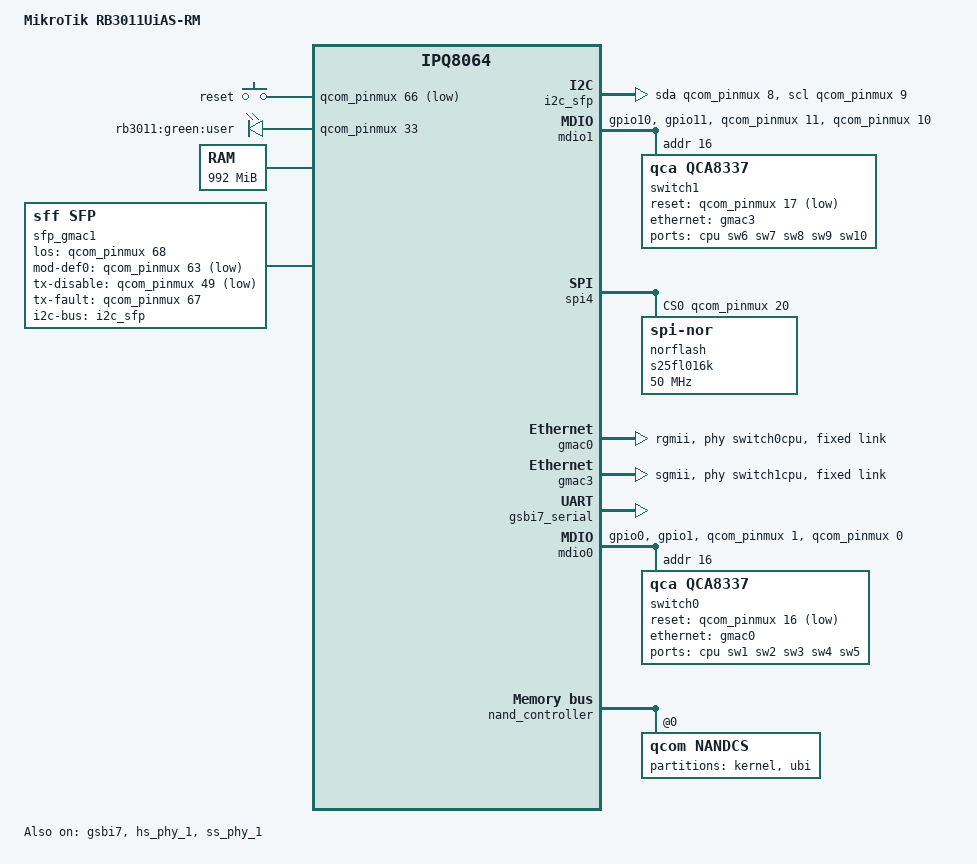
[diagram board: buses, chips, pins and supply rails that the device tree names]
// SPDX-License-Identifier: GPL-2.0+ OR MIT
#include "qcom-ipq8064.dtsi"
#include <dt-bindings/input/input.h>

/ {
	model = "MikroTik RB3011UiAS-RM";
	compatible = "mikrotik,rb3011";

	aliases {
		ethernet0 = &gmac0;
		ethernet1 = &gmac3;
		led-boot = &user;
		led-failsafe = &user;
		led-running = &user;
		led-upgrade = &user;
		mdio-gpio0 = &mdio0;
		mdio-gpio1 = &mdio1;
		serial0 = &gsbi7_serial;
	};

	chosen {
		bootargs = "loglevel=8 console=ttyMSM0,115200";
		stdout-path = "serial0:115200n8";
	};

	gpio_keys {
		compatible = "gpio-keys";
		pinctrl-0 = <&buttons_pins>;
		pinctrl-names = "default";

		button@1 {
			label = "reset";
			linux,code = <KEY_RESTART>;
			gpios = <&qcom_pinmux 66 GPIO_ACTIVE_LOW>;
			linux,input-type = <1>;
			debounce-interval = <60>;
		};
	};

	i2c_sfp: i2c {
		compatible = "i2c-gpio";
		sda-gpios = <&qcom_pinmux 8 (GPIO_ACTIVE_HIGH|GPIO_OPEN_DRAIN)>;
		scl-gpios = <&qcom_pinmux 9 (GPIO_ACTIVE_HIGH|GPIO_OPEN_DRAIN)>;
		i2c-gpio,delay-us = <5>;
		i2c-gpio,timeout-ms = <1>;
	};

	leds {
		compatible = "gpio-leds";
		pinctrl-0 = <&leds_pins>;
		pinctrl-names = "default";

		user: led@7 {
			label = "rb3011:green:user";
			gpios = <&qcom_pinmux 33 GPIO_ACTIVE_HIGH>;
			default-state = "off";
		};
	};

	mdio1: mdio@1 {
		status = "okay";
		compatible = "virtual,mdio-gpio";
		gpios = <&qcom_pinmux 11 GPIO_ACTIVE_HIGH>,
			<&qcom_pinmux 10 GPIO_ACTIVE_HIGH>;
		#address-cells = <1>;
		#size-cells = <0>;

		pinctrl-0 = <&mdio1_pins>;
		pinctrl-names = "default";

		switch1: switch@14 {
			compatible = "qca,qca8337";
			#address-cells = <1>;
			#size-cells = <0>;

			dsa,member = <1 0>;

			pinctrl-0 = <&sw1_reset_pin>;
			pinctrl-names = "default";

			reset-gpios = <&qcom_pinmux 17 GPIO_ACTIVE_LOW>;
			reg = <0x10>;

			ports {
				#address-cells = <1>;
				#size-cells = <0>;

				switch1cpu: port@0 {
					reg = <0>;
					label = "cpu";
					ethernet = <&gmac3>;
					phy-mode = "sgmii";
					fixed-link {
						speed = <1000>;
						full-duplex;
					};
				};

				port@1 {
					reg = <1>;
					label = "sw6";
					mtd-mac-address = <&hard_config 0x10>;
					mtd-mac-address-increment = <9>;
				};

				port@2 {
					reg = <2>;
					label = "sw7";
					mtd-mac-address = <&hard_config 0x10>;
					mtd-mac-address-increment = <10>;
				};

				port@3 {
					reg = <3>;
					label = "sw8";
					mtd-mac-address = <&hard_config 0x10>;
					mtd-mac-address-increment = <11>;
				};

				port@4 {
					reg = <4>;
					label = "sw9";
					mtd-mac-address = <&hard_config 0x10>;
					mtd-mac-address-increment = <12>;
				};

				port@5 {
					reg = <5>;
					label = "sw10";
					mtd-mac-address = <&hard_config 0x10>;
					mtd-mac-address-increment = <13>;
				};
			};
		};
	};

	memory@0 {
		reg = <0x42000000 0x3e000000>;
		device_type = "memory";
	};

	sfp_gmac1: sfp {
		compatible = "sff,sfp";
		i2c-bus = <&i2c_sfp>;
		los-gpios = <&qcom_pinmux 68 GPIO_ACTIVE_HIGH>;
		maximum-power-milliwatt = <2000>;
		mod-def0-gpios = <&qcom_pinmux 63 GPIO_ACTIVE_LOW>;
		pinctrl-0 = <&sfp_pins>;
		pinctrl-names = "default";
//		rate-select0-gpios = <&qcom_pinmux 50 GPIO_ACTIVE_HIGH>;
//		rate-select0-gpios = <&qcom_pinmux 50 GPIO_ACTIVE_LOW>;
//		tx-disable-gpios = <&qcom_pinmux 49 GPIO_ACTIVE_HIGH>;
		tx-disable-gpios = <&qcom_pinmux 49 GPIO_ACTIVE_LOW>;
		tx-fault-gpios = <&qcom_pinmux 67 GPIO_ACTIVE_HIGH>;
	};

	soc {
		gsbi5: gsbi@1a200000 {
			qcom,mode = <GSBI_PROT_SPI>;
			status = "okay";

			spi4: spi@1a280000 {
				status = "okay";
				spi-max-frequency = <50000000>;

				pinctrl-0 = <&spi_pins>;
				pinctrl-names = "default";

				cs-gpios = <&qcom_pinmux 20 GPIO_ACTIVE_HIGH>;

				norflash: s25fl016k@0 {
					compatible = "jedec,spi-nor";
					#address-cells = <1>;
					#size-cells = <1>;
					spi-max-frequency = <50000000>;
					reg = <0>;

					SBL1@0 {
						label = "SBL1";
						reg = <0x00000000 0x20000>;
						read-only;
					};
					MIBIB@20000 {
						label = "MIBIB";
						reg = <0x00020000 0x20000>;
						read-only;
					};
					SBL2@40000 {
						label = "SBL2";
						reg = <0x00040000 0x40000>;
						read-only;
					};
					SBL3@80000 {
						label = "SBL3";
						reg = <0x00080000 0x80000>;
						read-only;
					};
					DDRCONFIG@100000 {
						label = "DDRCONFIG";
						reg = <0x00100000 0x10000>;
						read-only;
					};
					SSD@110000 {
						label = "SSD";
						reg = <0x00110000 0x10000>;
						read-only;
					};
					TZ@120000 {
						label = "TZ";
						reg = <0x00120000 0x80000>;
						read-only;
					};
					RPM@1a0000 {
						label = "RPM";
						reg = <0x001a0000 0x20000>;
						read-only;
					};
					APPSBL@1c0000 {
						label = "APPSBL";
						reg = <0x001c0000 0x40000>;
						read-only;
					};
					hard_config: RBHARDCONFIG@1cf000 {
						label = "hard_config";
						reg = <0x001cf000 0x01000>;
						read-only;
					};
					RBSOFTCONFIG@1e0000 {
						label = "soft_config";
						reg = <0x001e0000 0x01000>;
					};
				};
			};
		};
	};
};

&adm_dma {
	status = "okay";
};

&gmac0 { /* switch0 port 0 */
	status = "okay";

	mtd-mac-address = <&hard_config 0x10>;
	mtd-mac-address-increment = <0>;
	phy-mode = "rgmii";
	qcom,id = <0>;
	phy-handle = <&switch0cpu>;

	fixed-link {
		speed = <1000>;
		full-duplex;
	};
};

&gmac3 { /* switch1 port 0 */
	status = "okay";

	mtd-mac-address = <&hard_config 0x10>;
	mtd-mac-address-increment = <3>;
	phy-mode = "sgmii";
	qcom,id = <3>;
	phy-handle = <&switch1cpu>;

	fixed-link {
		speed = <1000>;
		full-duplex;
	};
};

&gsbi7 {
	status = "okay";
	qcom,mode = <GSBI_PROT_I2C_UART>;
};

&gsbi7_serial {
	status = "okay";
};

&hs_phy_1 {
	status = "okay";
};

&mdio0 {
	status = "okay";
	compatible = "virtual,mdio-gpio";
	gpios = <&qcom_pinmux 1 GPIO_ACTIVE_HIGH>,
		<&qcom_pinmux 0 GPIO_ACTIVE_HIGH>;
	#address-cells = <1>;
	#size-cells = <0>;

	pinctrl-0 = <&mdio0_pins>;
	pinctrl-names = "default";

	switch0: switch@10 {
		compatible = "qca,qca8337";
		#address-cells = <1>;
		#size-cells = <0>;

		dsa,member = <0 0>;

		pinctrl-0 = <&sw0_reset_pin>;
		pinctrl-names = "default";

		reset-gpios = <&qcom_pinmux 16 GPIO_ACTIVE_LOW>;
		reg = <0x10>;

		ports {
			#address-cells = <1>;
			#size-cells = <0>;

			switch0cpu: port@0 {
				reg = <0>;
				label = "cpu";
				ethernet = <&gmac0>;
				phy-mode = "rgmii-id";
				fixed-link {
					speed = <1000>;
					full-duplex;
				};
			};

			port@1 {
				reg = <1>;
				label = "sw1";
				mtd-mac-address = <&hard_config 0x10>;
				mtd-mac-address-increment = <4>;
			};

			port@2 {
				reg = <2>;
				label = "sw2";
				mtd-mac-address = <&hard_config 0x10>;
				mtd-mac-address-increment = <5>;
			};

			port@3 {
				reg = <3>;
				label = "sw3";
				mtd-mac-address = <&hard_config 0x10>;
				mtd-mac-address-increment = <6>;
			};

			port@4 {
				reg = <4>;
				label = "sw4";
				mtd-mac-address = <&hard_config 0x10>;
				mtd-mac-address-increment = <7>;
			};

			port@5 {
				reg = <5>;
				label = "sw5";
				mtd-mac-address = <&hard_config 0x10>;
				mtd-mac-address-increment = <8>;
			};
		};
	};
};

&nand_controller {
	status = "okay";

	nandcs@0 {
		compatible = "qcom,nandcs";
		reg = <0>;

		nand-ecc-strength = <4>;
		nand-bus-width = <8>;
		nand-ecc-step-size = <512>;

		partitions {
			compatible = "fixed-partitions";
			#address-cells = <1>;
			#size-cells = <1>;

			partition@0 {
				label = "kernel";
				reg = <0x00000000 0x1000000>;
			};

			partition@1000000 {
				label = "ubi";
				reg = <0x1000000 0x7000000>;
			};
		};
	};
};

&qcom_pinmux {
	buttons_pins: buttons_pins {
		mux {
			pins = "gpio66";
			drive-strength = <16>;
			bias-disable;
		};
	};

	leds_pins: leds_pins {
		mux {
			pins = "gpio33";
			drive-strength = <16>;
			bias-disable;
		};
	};

	mdio0_pins: mdio0_pins {
		mux {
			pins = "gpio0", "gpio1";
			function = "gpio";
			drive-strength = <8>;
			bias-disable;
		};
	};

	mdio1_pins: mdio1_pins {
		mux {
			pins = "gpio10", "gpio11";
			function = "gpio";
			drive-strength = <8>;
			bias-disable;
		};
	};

	sfp_pins: sfp-pins {
		mux {
			pins = "gpio49", "gpio50", "gpio63", "gpio67", "gpio68";
			function = "gpio";
			drive-strength = <16>;
			bias-disable;
		};
	};

	sw0_reset_pin: sw0_reset_pin {
		mux {
			pins = "gpio16";
			drive-strength = <16>;
			function = "gpio";
			bias-disable;
			input-disable;
		};
	};

	sw1_reset_pin: sw1_reset_pin {
		mux {
			pins = "gpio17";
			drive-strength = <16>;
			function = "gpio";
			bias-disable;
			input-disable;
		};
	};

	usb1_pwr_en_pins: usb1_pwr_en_pins {
		mux {
			pins = "gpio4";
			function = "gpio";
			drive-strength = <16>;
			bias-disable;
			output-high;
		};
	};
};

&ss_phy_1 {
	status = "okay";
};

&usb3_1 {
	pinctrl-0 = <&usb1_pwr_en_pins>;
	pinctrl-names = "default";

	status = "disabled";
};
